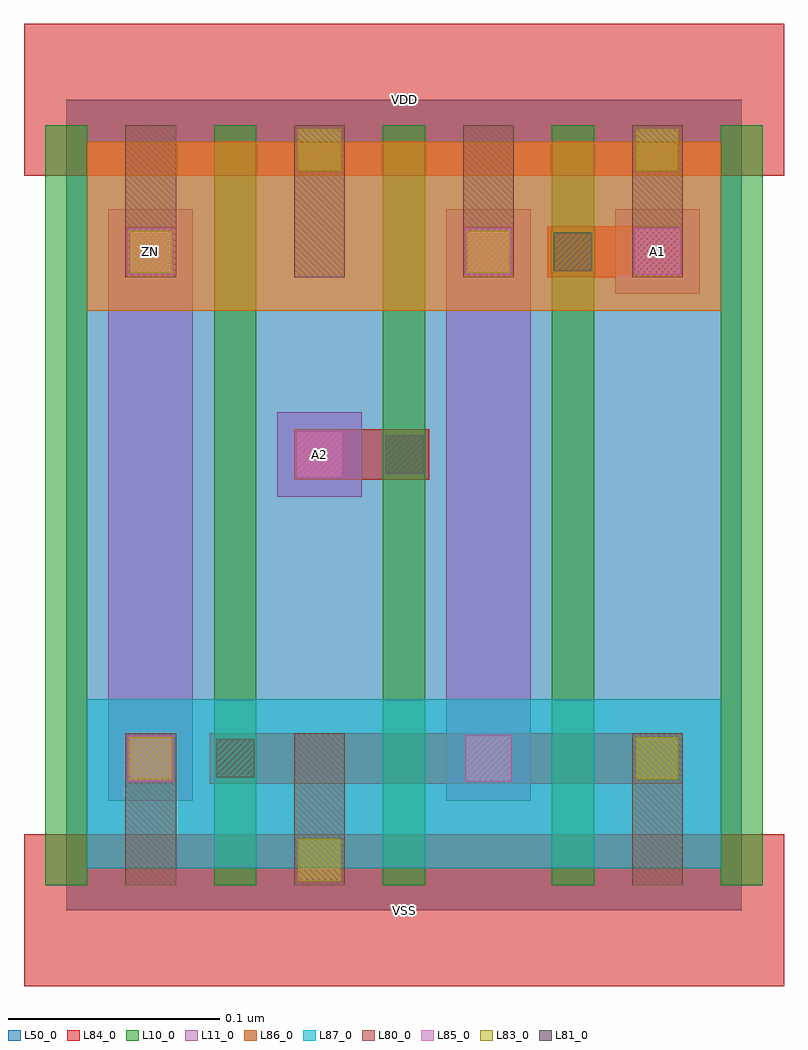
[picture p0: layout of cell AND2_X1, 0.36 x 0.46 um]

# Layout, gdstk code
import gdstk
lib = gdstk.Library(unit=1e-6, precision=1e-09)
def R(c, l, rs):  # rectangles x0, y0, x1, y1
    for r in rs: c.add(gdstk.rectangle(r[:2], r[2:], *l))
def A(c, l, x, y, w, h, nx, ny, dx, dy):  # array of equal rectangles
    R(c, l, [(x+i*dx, y+j*dy, x+i*dx+w, y+j*dy+h) for i in range(nx) for j in range(ny)])
L10_0 = (10, 0)
L11_0 = (11, 0)
L50_0 = (50, 0)
L80_0 = (80, 0)
L81_0 = (81, 0)
L83_0 = (83, 0)
L84_0 = (84, 0)
L85_0 = (85, 0)
L86_0 = (86, 0)
L87_0 = (87, 0)

and2_x1 = lib.new_cell('AND2_X1')
A(and2_x1, L10_0, -0.01, 0.012, 0.02, 0.36, 5, 1, 0.08, 0)
R(and2_x1, L11_0, [(0.02,0.052,0.06,0.332), (0.18,0.052,0.22,0.332), (0.1,0.196,0.14,0.236), (0.26,0.292,0.3,0.332)])
R(and2_x1, L50_0, [(0,0,0.32,0.384)])
A(and2_x1, L80_0, 0.028, 0.3, 0.024, 0.072, 4, 1, 0.08, 0)
R(and2_x1, L80_0, [(0.028,0.012,0.052,0.084), (0.108,0.012,0.132,0.084), (0.268,0.012,0.292,0.084)])
R(and2_x1, L81_0, [(0.071,0.063,0.089,0.081), (0.151,0.207,0.169,0.225), (0.231,0.303,0.249,0.321)])
R(and2_x1, L83_0, [(0.11,0.014,0.13,0.034), (0.03,0.062,0.05,0.082), (0.27,0.062,0.29,0.082), (0.03,0.302,0.05,0.322), (0.19,0.302,0.21,0.322), (0.11,0.35,0.13,0.37), (0.27,0.35,0.29,0.37)])
R(and2_x1, L84_0, [(-0.02,-0.036,0.34,0.036), (0.028,0.06,0.052,0.084), (0.068,0.06,0.292,0.084), (0.108,0.204,0.172,0.228), (0.028,0.3,0.052,0.324), (0.188,0.3,0.212,0.324), (0.228,0.3,0.292,0.324), (-0.02,0.348,0.34,0.42)])
R(and2_x1, L85_0, [(0.029,0.061,0.051,0.083), (0.189,0.061,0.211,0.083), (0.109,0.205,0.131,0.227), (0.029,0.301,0.051,0.323), (0.189,0.301,0.211,0.323), (0.269,0.301,0.291,0.323)])
R(and2_x1, L86_0, [(0.01,0.284,0.31,0.364)])
R(and2_x1, L87_0, [(0.01,0.02,0.31,0.1)])
and2_x1.add(gdstk.Label('VDD', (0.16,0.384), layer=88, texttype=0))
and2_x1.add(gdstk.Label('VSS', (0.16,0), layer=88, texttype=0))
and2_x1.add(gdstk.Label('ZN', (0.04,0.312), layer=31, texttype=0))
and2_x1.add(gdstk.Label('A2', (0.12,0.216), layer=31, texttype=0))
and2_x1.add(gdstk.Label('A1', (0.28,0.312), layer=31, texttype=0))

lib.write_gds('AND2_X1.gds')
